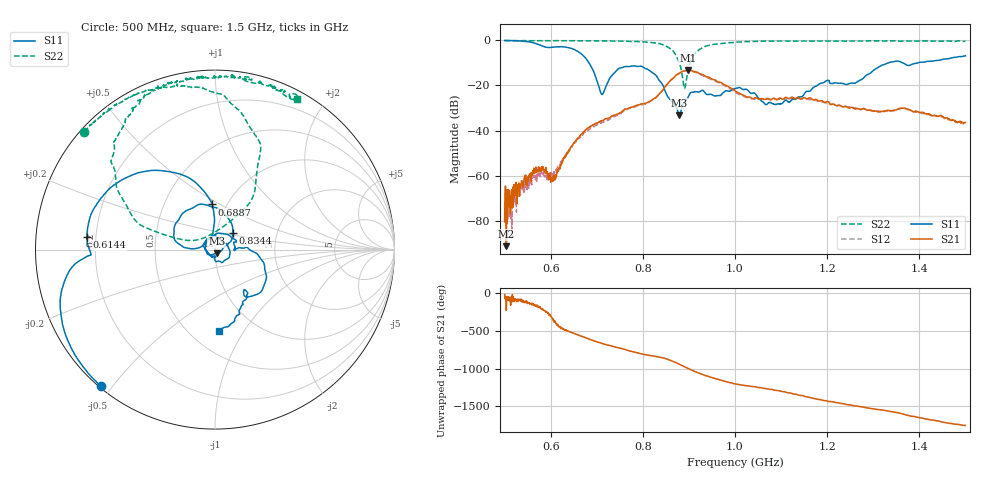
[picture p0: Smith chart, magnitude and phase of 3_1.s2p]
!Agilent Technologies,E8364B,US42250235,A.06.04.32
!Agilent E8364B: A.06.04.32
!Date: Friday, January 15, 2021 14:32:25
!Correction: S11(Full 2 Port(1,2)) S21(Full 2 Port(1,2)) S12(Full 2 Port(1,2)) S22(Full 2 Port(1,2))
!S2P File: Measurements: S11, S21, S12, S22:
# Hz S  dB  R 50
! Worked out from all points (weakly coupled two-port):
!   1601 points, 500 MHz to 1.5 GHz, reference 50 ohm
!   highest |S21| = -13.34 dB at 897.5 MHz (marker M1); lowest = -91.3 dB at 503.8 MHz (marker M2)
!   lowest |S11| = -33.2 dB at 878.8 MHz (marker M3), VSWR 1.04, Z = 50.9 - j1.99 ohm
!   |S11| at or under -10 dB: 682.9 MHz to 1.333 GHz (649.6 MHz wide, 64.5 % of centre); 1.364 GHz to 1.397 GHz (33 MHz wide, 2.39 % of centre)
!   |S22| runs from -21.4 to -0.1 dB; largest |S21 - S12| = 0.011
!   S11 on the Smith chart (normalised r, x): 500 MHz: 0.01, -0.47; 614.4 MHz: 0.17, +0.05; 688.8 MHz: 0.86, +0.46; 834.4 MHz: 1.19, +0.22; 1.5 GHz: 0.69, -0.78
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5e8  -0.08 -129.9  -80.47 -14.5  -72.49 -134.2  -0.16 137.9
5.0375e8  -0.08 -131.7  -91.27 134.2  -69.60 -98.4  -0.17 137.5
5.63125e8  -1.14 -165.9  -58.96 -153.2  -60.68 -155.5  -0.18 132.2
6.05e8  -3.08 179.5  -61.72 15.1  -59.26 -4.8  -0.21 127.4
6.14375e8  -2.89 174.5  -58.24 -66.5  -56.70 -64.7  -0.16 127.1
6.66875e8  -6.12 119.2  -41.60 152.4  -42.45 155.2  -0.21 120.9
6.8875e8  -11.98 93.6  -37.83 101.5  -38.79 105.4  -0.25 118.4
7.1125e8  -24.02 135.1  -35.74 56.1  -36.46 61.5  -0.26 116.1
7.59375e8  -11.78 151.5  -30.84 -20.9  -31.30 -16.7  -0.44 108.5
7.98125e8  -11.61 105.7  -28.19 -84.6  -28.59 -82.0  -0.65 100.5
8.3375e8  -17.26 44.4  -24.22 -122.5  -24.22 -120.2  -1.37 86.2
8.34375e8  -17.47 43.2  -24.06 -123.0  -24.11 -121.2  -1.39 86.0
8.7875e8  -33.22 -63.6  -14.61 140.6  -14.76 141.8  -9.77 53.4
8.9e8  -27.74 -145.2  -13.52 107.7  -13.69 108.0  -21.25 107.8
8.975e8  -25.49 176.3  -13.34 85.1  -13.52 85.4  -14.11 163.2
9.24375e8  -22.71 98.4  -14.91 14.9  -15.12 14.4  -3.89 148.3
1e9  -21.39 -10.5  -22.42 -121.1  -22.86 -118.8  -0.93 120.8
1.088125e9  -28.49 -92.6  -26.10 151.6  -26.19 155.0  -0.37 105.6
1.166875e9  -21.59 90.0  -26.06 48.9  -26.44 53.0  -0.38 96.6
1.26125e9  -18.95 3.0  -30.41 -53.6  -30.11 -55.5  -0.29 88.4
1.33375e9  -9.89 -26.7  -31.06 -124.3  -31.37 -124.9  -0.29 78.8
1.5e9  -6.89 -87.1  -36.46 46.6  -37.11 41.5  -0.38 61.4
